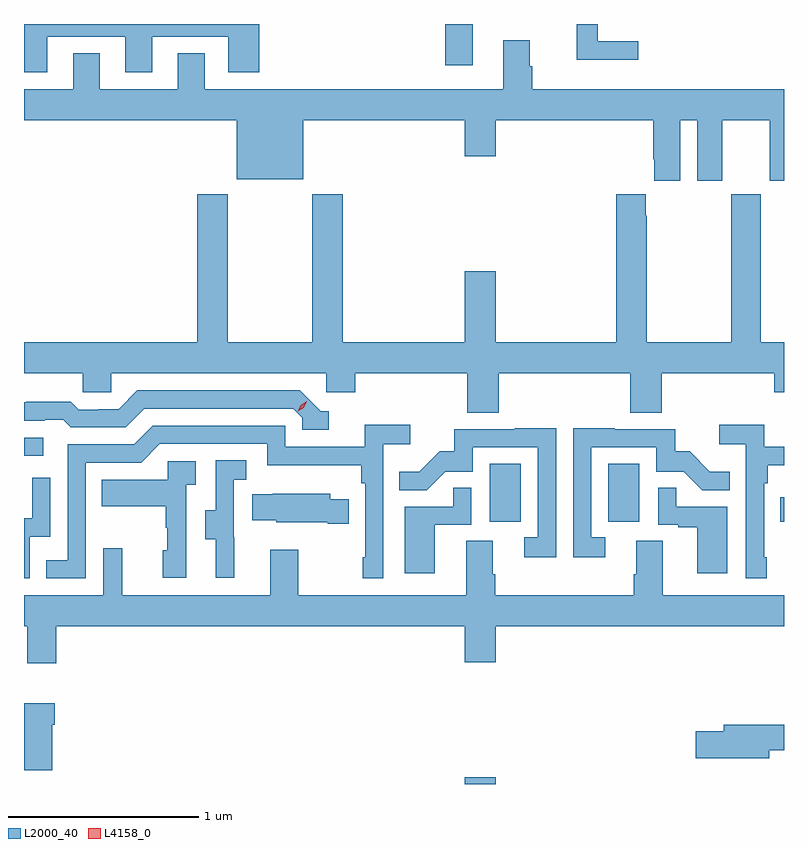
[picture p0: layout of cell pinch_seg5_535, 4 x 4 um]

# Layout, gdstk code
import gdstk
lib = gdstk.Library(unit=1e-6, precision=1e-09)
def R(c, l, rs):  # rectangles x0, y0, x1, y1
    for r in rs: c.add(gdstk.rectangle(r[:2], r[2:], *l))
def P(c, l, *ps):  # polygons
    for p in ps: c.add(gdstk.Polygon(p, *l))
L2000_40 = (2000, 40)
L4158_0 = (4158, 0)

pinch_seg5_535 = lib.new_cell('pinch_seg5_535')
R(pinch_seg5_535, L2000_40, [(956.216,837.283,956.38,837.319), (956.348,838.662,956.512,838.969), (956.972,838.662,957.136,838.969), (957.877,838.663,957.897,838.792), (953.897,839.01,953.998,839.106), (956.114,841.065,956.26,841.283)])
P(pinch_seg5_535, L2000_40, [(957.13,841.192),(956.917,841.192),(956.917,841.283),(956.805,841.283),(956.805,841.094),(957.13,841.094)],
  [(954.019,841.215),(954.431,841.215),(954.431,841.029),(954.571,841.029),(954.571,841.215),(954.971,841.215),(954.971,841.029),(955.136,841.029),(955.136,841.283),(953.897,841.283),(953.897,841.029),(954.019,841.029)],
  [(957.352,840.776),(957.44,840.776),(957.44,840.459),(957.571,840.459),(957.571,840.776),(957.821,840.776),(957.821,840.459),(957.897,840.459),(957.897,840.94),(956.573,840.94),(956.573,841.061),(956.56,841.061),(956.56,841.198),(956.42,841.198),(956.42,840.94),(954.847,840.94),(954.847,841.13),(954.707,841.13),(954.707,840.94),(954.295,840.94),(954.295,841.13),(954.155,841.13),(954.155,840.94),(953.897,840.94),(953.897,840.776),(955.016,840.776),(955.016,840.467),(955.366,840.467),(955.366,840.776),(956.216,840.776),(956.216,840.588),(956.38,840.588),(956.38,840.776),(957.209,840.776),(957.209,840.571),(957.215,840.571),(957.215,840.459),(957.352,840.459)],
  [(956.396,839.444),(957.089,839.444),(957.089,839.236),(957.254,839.236),(957.254,839.444),(957.845,839.444),(957.845,839.346),(957.897,839.346),(957.897,839.608),(957.774,839.608),(957.774,840.388),(957.619,840.388),(957.619,839.608),(957.174,839.608),(957.174,840.275),(957.169,840.275),(957.169,840.388),(957.014,840.388),(957.014,839.608),(956.38,839.608),(956.38,839.983),(956.216,839.983),(956.216,839.608),(955.574,839.608),(955.574,840.388),(955.414,840.388),(955.414,839.608),(954.969,839.608),(954.969,840.388),(954.809,840.388),(954.809,839.608),(953.897,839.608),(953.897,839.444),(954.207,839.444),(954.207,839.346),(954.357,839.346),(954.357,839.444),(955.488,839.444),(955.488,839.346),(955.64,839.346),(955.64,839.444),(956.231,839.444),(956.231,839.236),(956.396,839.236)],
  [(955.501,839.244),(955.458,839.244),(955.347,839.355),(954.494,839.355),(954.395,839.256),(954.288,839.256),(954.288,839.253),(954.185,839.253),(954.143,839.296),(953.91,839.296),(953.91,839.293),(953.897,839.293),(953.897,839.196),(954.005,839.196),(954.005,839.199),(954.104,839.199),(954.143,839.16),(954.432,839.16),(954.531,839.259),(955.314,839.259),(955.362,839.211),(955.362,839.148),(955.501,839.148)],
  [(954.222,838.974),(954.513,838.974),(954.612,839.073),(955.176,839.073),(955.176,838.961),(955.672,838.961),(955.672,838.865),(955.692,838.865),(955.692,838.477),(955.68,838.477),(955.68,838.365),(955.788,838.365),(955.788,839.072),(955.93,839.072),(955.93,839.174),(955.691,839.174),(955.691,839.058),(955.272,839.058),(955.272,839.169),(954.575,839.169),(954.476,839.07),(954.126,839.07),(954.126,838.461),(954.013,838.461),(954.013,838.365),(954.222,838.365)],
  [(957.805,838.477),(957.792,838.477),(957.792,838.865),(957.812,838.865),(957.812,838.961),(957.897,838.961),(957.897,839.058),(957.794,839.058),(957.794,839.174),(957.555,839.174),(957.555,839.072),(957.696,839.072),(957.696,838.365),(957.805,838.365)],
  [(956.697,839.156),(956.479,839.156),(956.479,839.151),(956.161,839.151),(956.161,839.034),(956.084,839.034),(955.977,838.927),(955.873,838.927),(955.873,838.828),(956.017,838.828),(956.115,838.926),(956.259,838.926),(956.259,839.055),(956.601,839.055),(956.601,838.581),(956.529,838.581),(956.529,838.476),(956.697,838.476)],
  [(956.956,838.581),(956.883,838.581),(956.883,839.055),(957.225,839.055),(957.225,838.926),(957.369,838.926),(957.467,838.828),(957.611,838.828),(957.611,838.927),(957.507,838.927),(957.4,839.034),(957.324,839.034),(957.324,839.151),(957.005,839.151),(957.005,839.156),(956.787,839.156),(956.787,838.476),(956.956,838.476)],
  [(955.004,838.581),(955.002,838.581),(955.002,838.885),(955.066,838.885),(955.066,838.988),(954.906,838.988),(954.906,838.725),(954.851,838.725),(954.851,838.57),(954.905,838.57),(954.905,838.368),(955.004,838.368)],
  [(954.75,838.859),(954.802,838.859),(954.802,838.983),(954.654,838.983),(954.654,838.885),(954.307,838.885),(954.307,838.745),(954.642,838.745),(954.642,838.631),(954.652,838.631),(954.652,838.512),(954.626,838.512),(954.626,838.368),(954.75,838.368)],
  [(953.928,838.584),(954.036,838.584),(954.036,838.894),(953.94,838.894),(953.94,838.682),(953.897,838.682),(953.897,838.365),(953.928,838.365)],
  [(956.059,838.647),(956.25,838.647),(956.25,838.841),(956.155,838.841),(956.155,838.743),(955.901,838.743),(955.901,838.392),(956.059,838.392)],
  [(957.598,838.743),(957.329,838.743),(957.329,838.841),(957.234,838.841),(957.234,838.647),(957.341,838.647),(957.341,838.635),(957.44,838.635),(957.44,838.392),(957.598,838.392)],
  [(955.607,838.783),(955.509,838.783),(955.509,838.81),(955.207,838.81),(955.207,838.807),(955.099,838.807),(955.099,838.67),(955.224,838.67),(955.224,838.661),(955.496,838.661),(955.496,838.654),(955.607,838.654)],
  [(954.068,838.112),(956.216,838.112),(956.216,837.924),(956.38,837.924),(956.38,838.112),(957.897,838.112),(957.897,838.276),(957.259,838.276),(957.259,838.562),(957.119,838.562),(957.119,838.388),(957.107,838.388),(957.107,838.276),(956.378,838.276),(956.378,838.388),(956.365,838.388),(956.365,838.562),(956.225,838.562),(956.225,838.276),(955.341,838.276),(955.341,838.516),(955.193,838.516),(955.193,838.276),(954.413,838.276),(954.413,838.525),(954.315,838.525),(954.315,838.276),(953.897,838.276),(953.897,838.112),(953.915,838.112),(953.915,837.918),(954.068,837.918)],
  [(954.046,837.596),(954.059,837.596),(954.059,837.709),(953.897,837.709),(953.897,837.356),(954.046,837.356)],
  [(957.82,837.46),(957.897,837.46),(957.897,837.596),(957.581,837.596),(957.581,837.56),(957.432,837.56),(957.432,837.418),(957.82,837.418)])
P(pinch_seg5_535, L4158_0, [(955.339,839.244),(955.339,839.244),(955.354,839.277),(955.385,839.297),(955.385,839.297),(955.385,839.297),(955.37,839.264),(955.339,839.244)])

lib.write_gds('pinch_seg5_535.gds')
